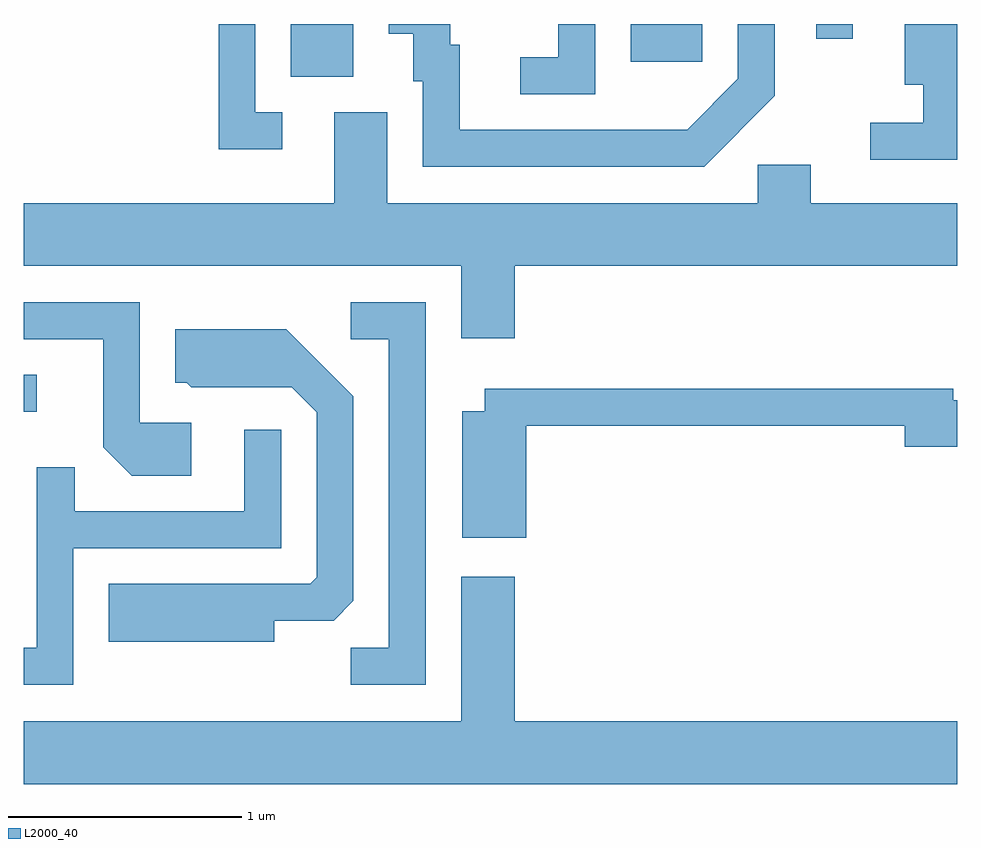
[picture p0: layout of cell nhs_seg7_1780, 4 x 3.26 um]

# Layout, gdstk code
import gdstk
lib = gdstk.Library(unit=1e-6, precision=1e-09)
def R(c, l, rs):  # rectangles x0, y0, x1, y1
    for r in rs: c.add(gdstk.rectangle(r[:2], r[2:], *l))
def P(c, l, *ps):  # polygons
    for p in ps: c.add(gdstk.Polygon(p, *l))
L2000_40 = (2000, 40)

nhs_seg7_1780 = lib.new_cell('nhs_seg7_1780')
R(nhs_seg7_1780, L2000_40, [(239.611,1702.591,239.668,1702.749), (240.756,1704.026,241.024,1704.252), (242.211,1704.091,242.519,1704.252), (243.006,1704.188,243.164,1704.252)])
P(nhs_seg7_1780, L2000_40, [(242.829,1703.944),(242.829,1704.252),(242.671,1704.252),(242.671,1704.017),(242.454,1703.799),(241.479,1703.799),(241.479,1704.164),(241.439,1704.164),(241.439,1704.252),(241.176,1704.252),(241.176,1704.211),(241.281,1704.211),(241.281,1704.006),(241.321,1704.006),(241.321,1703.641),(242.527,1703.641)],
  [(243.611,1704.252),(243.386,1704.252),(243.386,1703.991),(243.466,1703.991),(243.466,1703.829),(243.238,1703.829),(243.238,1703.671),(243.611,1703.671)],
  [(240.718,1703.874),(240.604,1703.874),(240.604,1704.252),(240.446,1704.252),(240.446,1703.716),(240.718,1703.716)],
  [(242.059,1704.252),(241.901,1704.252),(241.901,1704.109),(241.738,1704.109),(241.738,1703.951),(242.059,1703.951)],
  [(241.714,1703.216),(243.611,1703.216),(243.611,1703.484),(242.984,1703.484),(242.984,1703.649),(242.756,1703.649),(242.756,1703.484),(241.169,1703.484),(241.169,1703.874),(240.941,1703.874),(240.941,1703.484),(239.611,1703.484),(239.611,1703.216),(241.486,1703.216),(241.486,1702.906),(241.714,1702.906)],
  [(240.329,1702.544),(240.109,1702.544),(240.109,1703.059),(239.611,1703.059),(239.611,1702.901),(239.951,1702.901),(239.951,1702.439),(240.074,1702.316),(240.329,1702.316)],
  [(241.334,1703.059),(241.013,1703.059),(241.013,1702.901),(241.176,1702.901),(241.176,1701.579),(241.013,1701.579),(241.013,1701.421),(241.334,1701.421)],
  [(240.684,1701.696),(240.939,1701.696),(241.024,1701.782),(241.024,1702.657),(240.737,1702.944),(240.261,1702.944),(240.261,1702.716),(240.309,1702.716),(240.329,1702.696),(240.759,1702.696),(240.866,1702.589),(240.866,1701.882),(240.839,1701.854),(239.976,1701.854),(239.976,1701.606),(240.684,1701.606)],
  [(241.764,1702.531),(243.386,1702.531),(243.386,1702.441),(243.611,1702.441),(243.611,1702.639),(243.594,1702.639),(243.594,1702.689),(241.586,1702.689),(241.586,1702.594),(241.491,1702.594),(241.491,1702.051),(241.764,1702.051)],
  [(239.824,1702.006),(240.714,1702.006),(240.714,1702.513),(240.556,1702.513),(240.556,1702.164),(239.829,1702.164),(239.829,1702.353),(239.666,1702.353),(239.666,1701.579),(239.611,1701.579),(239.611,1701.421),(239.824,1701.421)],
  [(243.611,1701.264),(241.714,1701.264),(241.714,1701.884),(241.486,1701.884),(241.486,1701.264),(239.611,1701.264),(239.611,1700.996),(243.611,1700.996)])

lib.write_gds('nhs_seg7_1780.gds')
